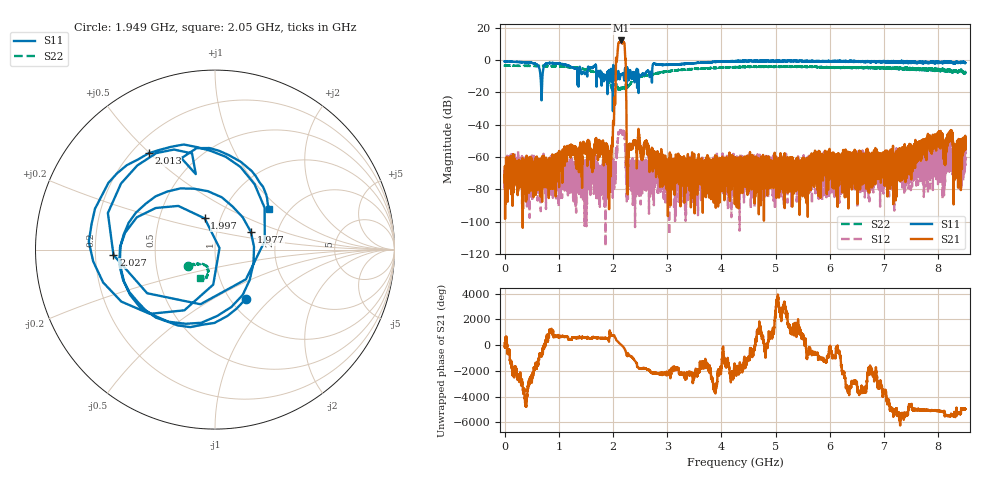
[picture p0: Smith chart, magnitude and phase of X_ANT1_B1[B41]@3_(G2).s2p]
#  HZ  S  RI  R  50.00
! Rohde & Schwarz Vector Network Analyzer
! Rohde-Schwarz,ZNBT8-20Port,1318700624101681,3.50
! Created: UTC 7/15/2025, 2:10:57 PM
! freq[Hz]  re:S1010  im:S1010  re:S0310  im:S0310  re:S1003  im:S1003  re:S33  im:S33
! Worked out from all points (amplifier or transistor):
!   8500 points, 1 MHz to 8.5 GHz, reference 50 ohm
!   highest |S21| = 12.2 dB at 2.143 GHz (marker M1)
!   |S21| within 3 dB of that: 2.095 GHz to 2.215 GHz (119.9 MHz wide, 5.56 % of centre)
!   unconditionally stable (mu >= 1): start of sweep to end of sweep
!   at 1.417 GHz: K = 1179017.27, MAG = -55.0 dB, |S12| = -74.6 dB
!   at 4.251 GHz: K = 165624.52, MAG = -57.2 dB, |S12| = -63.9 dB
!   at 8.5 GHz: K = 39417.25, MAG = -43.0 dB, |S12| = -60.5 dB
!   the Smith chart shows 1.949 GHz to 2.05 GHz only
!   S11 on the Smith chart (normalised r, x): 1.949 GHz: 1.17, -0.72; 1.977 GHz: 1.46, +0.30; 1.997 GHz: 0.84, +0.30; 2.013 GHz: 0.27, +0.50; 2.027 GHz: 0.28, -0.02; 2.05 GHz: 1.60, +0.84
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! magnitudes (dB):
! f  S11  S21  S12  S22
! 1 MHz  -0.9  -71.2  -80.1  -3.4
! 144 MHz  -1.0  -71.5  -73.7  -3.4
! 1.418 GHz  -8.5  -64.4  -68.1  -5.3
! 1.708 GHz  -6.9  -50.7  -81.9  -8.4
! 1.949 GHz  -9.8  -58.1  -73.6  -15.0
! 1.977 GHz  -13.0  -53.9  -69.0  -17.3
! 1.997 GHz  -14.7  -47.7  -77.1  -19.7
! 2.013 GHz  -3.7  -39.4  -70.5  -18.5
! 2.027 GHz  -4.9  -22.9  -64.9  -16.6
! 2.05 GHz  -8.5  -11.1  -64.6  -14.9
! 2.093 GHz  -7.2  8.5  -47.8  -17.7
! 2.143 GHz  -8.9  12.2  -43.5  -17.3
! 2.205 GHz  -11.9  10.7  -44.5  -17.1
! 2.292 GHz  -11.2  -53.5  -67.4  -15.9
! 2.452 GHz  -6.9  -53.1  -76.0  -10.2
! 2.834 GHz  -2.8  -62.4  -67.2  -8.1
! 4.251 GHz  -0.6  -67.9  -63.9  -4.3
! 5.667 GHz  -0.4  -68.0  -64.7  -4.2
! 7.084 GHz  -1.0  -60.0  -64.1  -4.7
! 8.22 GHz  -1.3  -47.7  -58.2  -6.6
! 8.324 GHz  -1.4  -61.7  -54.9  -6.7
! 8.5 GHz  -1.8  -48.6  -60.5  -7.4
